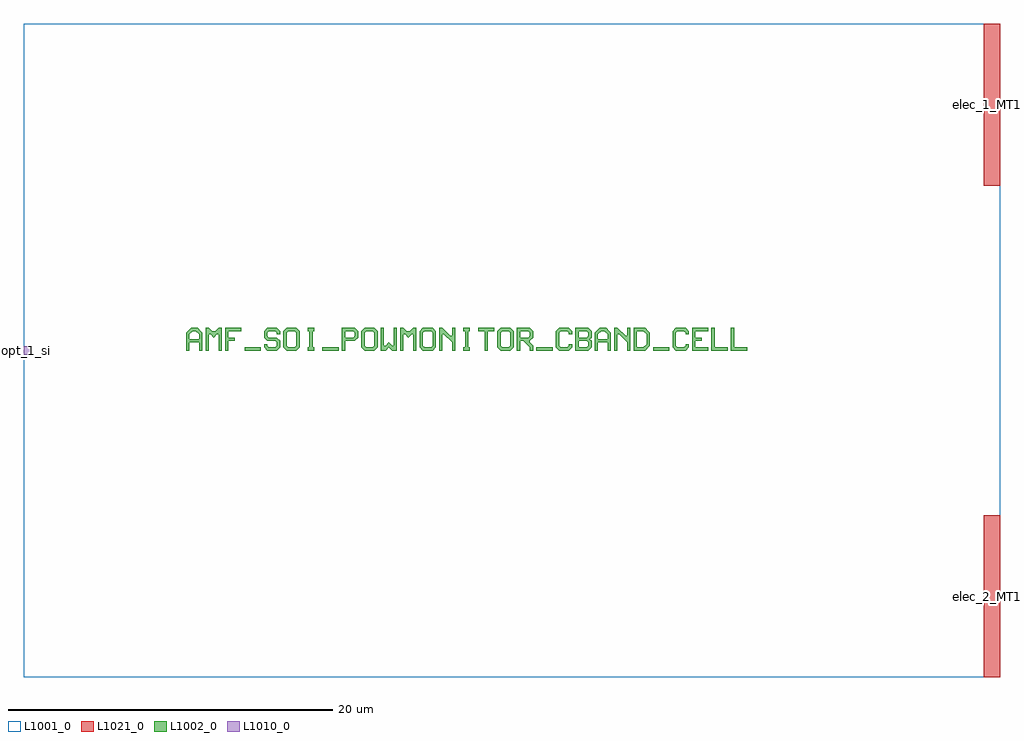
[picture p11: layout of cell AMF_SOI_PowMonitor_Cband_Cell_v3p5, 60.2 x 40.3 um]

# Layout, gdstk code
import gdstk
lib = gdstk.Library(unit=1e-6, precision=1e-09)
def R(c, l, rs):  # rectangles x0, y0, x1, y1
    for r in rs: c.add(gdstk.rectangle(r[:2], r[2:], *l))
def P(c, l, *ps):  # polygons
    for p in ps: c.add(gdstk.Polygon(p, *l))
L1001_0 = (1001, 0)
L1002_0 = (1002, 0)
L1010_0 = (1010, 0)
L1021_0 = (1021, 0)

amf_soi_powmonitor_cband = lib.new_cell('AMF_SOI_PowMonitor_Cband_Cell_v3p5')
R(amf_soi_powmonitor_cband, L1001_0, [(0,-20.15,60.2,20.15)])
R(amf_soi_powmonitor_cband, L1002_0, [(13.604,-0.003,14.604,0.197), (18.404,-0.003,19.404,0.197), (31.604,-0.003,32.604,0.197), (38.804,-0.003,39.804,0.197)])
P(amf_soi_powmonitor_cband, L1002_0, [(10.004,-0.003),(10.004,1.097),(10.304,1.397),(10.704,1.397),(10.904,1.197),(10.404,1.197),(10.204,0.997),(10.204,0.697),(10.804,0.697),(10.804,0.997),(10.604,1.197),(10.904,1.197),(11.004,1.097),(11.004,-0.003),(10.804,-0.003),(10.804,0.497),(10.204,0.497),(10.204,-0.003)],
  [(11.204,-0.003),(11.204,1.397),(11.404,1.397),(11.604,1.197),(11.804,1.197),(12.004,1.397),(12.204,1.397),(12.204,-0.003),(12.004,-0.003),(12.004,0.997),(11.904,0.997),(11.704,0.797),(11.504,0.997),(11.404,0.997),(11.404,-0.003)],
  [(12.404,-0.003),(12.404,1.397),(13.404,1.397),(13.404,1.197),(12.604,1.197),(12.604,0.797),(13.004,0.797),(13.004,0.597),(12.604,0.597),(12.604,-0.003)],
  [(15.004,-0.003),(14.804,0.197),(14.804,0.397),(15.004,0.397),(15.004,0.297),(15.104,0.197),(15.504,0.197),(15.604,0.297),(15.604,0.497),(15.504,0.597),(15.004,0.597),(14.804,0.797),(14.804,1.197),(15.004,1.397),(15.604,1.397),(15.804,1.197),(15.804,0.997),(15.604,0.997),(15.604,1.097),(15.504,1.197),(15.104,1.197),(15.004,1.097),(15.004,0.897),(15.104,0.797),(15.604,0.797),(15.804,0.597),(15.804,0.197),(15.604,-0.003)],
  [(16.204,-0.003),(16.004,0.197),(16.004,1.197),(16.204,1.397),(16.804,1.397),(17.004,1.197),(17.004,0.697),(16.804,0.697),(16.804,1.097),(16.704,1.197),(16.304,1.197),(16.204,1.097),(16.204,0.297),(16.304,0.197),(16.704,0.197),(16.804,0.297),(16.804,0.697),(17.004,0.697),(17.004,0.197),(16.804,-0.003)],
  [(17.504,-0.003),(17.504,0.197),(17.604,0.197),(17.604,1.197),(17.504,1.197),(17.504,1.397),(17.904,1.397),(17.904,1.197),(17.804,1.197),(17.804,0.197),(17.904,0.197),(17.904,-0.003)],
  [(19.604,-0.003),(19.604,1.397),(20.404,1.397),(20.604,1.197),(20.604,0.797),(20.404,0.597),(19.804,0.597),(19.804,0.797),(20.304,0.797),(20.404,0.897),(20.404,1.097),(20.304,1.197),(19.804,1.197),(19.804,-0.003)],
  [(21.004,-0.003),(20.804,0.197),(20.804,1.197),(21.004,1.397),(21.604,1.397),(21.804,1.197),(21.804,0.697),(21.604,0.697),(21.604,1.097),(21.504,1.197),(21.104,1.197),(21.004,1.097),(21.004,0.297),(21.104,0.197),(21.504,0.197),(21.604,0.297),(21.604,0.697),(21.804,0.697),(21.804,0.197),(21.604,-0.003)],
  [(22.004,-0.003),(22.004,1.397),(22.204,1.397),(22.204,0.297),(22.304,0.297),(22.504,0.497),(22.704,0.297),(22.804,0.297),(22.804,1.397),(23.004,1.397),(23.004,-0.003),(22.704,-0.003),(22.504,0.197),(22.304,-0.003)],
  [(23.204,-0.003),(23.204,1.397),(23.404,1.397),(23.604,1.197),(23.804,1.197),(24.004,1.397),(24.204,1.397),(24.204,-0.003),(24.004,-0.003),(24.004,0.997),(23.904,0.997),(23.704,0.797),(23.504,0.997),(23.404,0.997),(23.404,-0.003)],
  [(24.604,-0.003),(24.404,0.197),(24.404,1.197),(24.604,1.397),(25.204,1.397),(25.404,1.197),(25.404,0.697),(25.204,0.697),(25.204,1.097),(25.104,1.197),(24.704,1.197),(24.604,1.097),(24.604,0.297),(24.704,0.197),(25.104,0.197),(25.204,0.297),(25.204,0.697),(25.404,0.697),(25.404,0.197),(25.204,-0.003)],
  [(25.604,-0.003),(25.604,1.397),(25.804,1.397),(26.304,0.897),(26.404,0.897),(26.404,1.397),(26.604,1.397),(26.604,-0.003),(26.404,-0.003),(26.404,0.497),(25.904,0.997),(25.804,0.997),(25.804,-0.003)],
  [(27.104,-0.003),(27.104,0.197),(27.204,0.197),(27.204,1.197),(27.104,1.197),(27.104,1.397),(27.504,1.397),(27.504,1.197),(27.404,1.197),(27.404,0.197),(27.504,0.197),(27.504,-0.003)],
  [(28.404,-0.003),(28.404,1.197),(28.004,1.197),(28.004,1.397),(29.004,1.397),(29.004,1.197),(28.604,1.197),(28.604,-0.003)],
  [(29.404,-0.003),(29.204,0.197),(29.204,1.197),(29.404,1.397),(30.004,1.397),(30.204,1.197),(30.204,0.697),(30.004,0.697),(30.004,1.097),(29.904,1.197),(29.504,1.197),(29.404,1.097),(29.404,0.297),(29.504,0.197),(29.904,0.197),(30.004,0.297),(30.004,0.697),(30.204,0.697),(30.204,0.197),(30.004,-0.003)],
  [(30.404,-0.003),(30.404,1.397),(31.204,1.397),(31.404,1.197),(30.604,1.197),(30.604,0.797),(31.104,0.797),(31.204,0.897),(31.204,1.097),(31.104,1.197),(31.404,1.197),(31.404,0.797),(31.204,0.597),(31.204,0.497),(31.404,0.297),(31.404,-0.003),(31.204,-0.003),(31.204,0.197),(30.804,0.597),(30.604,0.597),(30.604,-0.003)],
  [(33.004,-0.003),(32.804,0.197),(32.804,1.197),(33.004,1.397),(33.604,1.397),(33.804,1.197),(33.804,0.997),(33.604,0.997),(33.604,1.097),(33.504,1.197),(33.104,1.197),(33.004,1.097),(33.004,0.297),(33.104,0.197),(33.504,0.197),(33.604,0.297),(33.604,0.397),(33.804,0.397),(33.804,0.197),(33.604,-0.003)],
  [(34.004,-0.003),(34.004,1.397),(34.804,1.397),(35.004,1.197),(34.204,1.197),(34.204,0.797),(34.704,0.797),(34.804,0.897),(34.804,1.097),(34.704,1.197),(35.004,1.197),(35.004,0.797),(34.904,0.697),(35.004,0.597),(34.204,0.597),(34.204,0.197),(34.704,0.197),(34.804,0.297),(34.804,0.497),(34.704,0.597),(35.004,0.597),(35.004,0.197),(34.804,-0.003)],
  [(35.204,-0.003),(35.204,1.097),(35.504,1.397),(35.904,1.397),(36.104,1.197),(35.604,1.197),(35.404,0.997),(35.404,0.697),(36.004,0.697),(36.004,0.997),(35.804,1.197),(36.104,1.197),(36.204,1.097),(36.204,-0.003),(36.004,-0.003),(36.004,0.497),(35.404,0.497),(35.404,-0.003)],
  [(36.404,-0.003),(36.404,1.397),(36.604,1.397),(37.104,0.897),(37.204,0.897),(37.204,1.397),(37.404,1.397),(37.404,-0.003),(37.204,-0.003),(37.204,0.497),(36.704,0.997),(36.604,0.997),(36.604,-0.003)],
  [(37.604,-0.003),(37.604,1.397),(38.304,1.397),(38.504,1.197),(37.804,1.197),(37.804,0.197),(38.204,0.197),(38.404,0.397),(38.404,0.997),(38.204,1.197),(38.504,1.197),(38.604,1.097),(38.604,0.297),(38.304,-0.003)],
  [(40.204,-0.003),(40.004,0.197),(40.004,1.197),(40.204,1.397),(40.804,1.397),(41.004,1.197),(41.004,0.997),(40.804,0.997),(40.804,1.097),(40.704,1.197),(40.304,1.197),(40.204,1.097),(40.204,0.297),(40.304,0.197),(40.704,0.197),(40.804,0.297),(40.804,0.397),(41.004,0.397),(41.004,0.197),(40.804,-0.003)],
  [(41.204,-0.003),(41.204,1.397),(42.204,1.397),(42.204,1.197),(41.404,1.197),(41.404,0.797),(41.804,0.797),(41.804,0.597),(41.404,0.597),(41.404,0.197),(42.204,0.197),(42.204,-0.003)],
  [(42.404,-0.003),(42.404,1.397),(42.604,1.397),(42.604,0.197),(43.404,0.197),(43.404,-0.003)],
  [(43.604,-0.003),(43.604,1.397),(43.804,1.397),(43.804,0.197),(44.604,0.197),(44.604,-0.003)])
R(amf_soi_powmonitor_cband, L1010_0, [(0,-0.25,0.5,0.25)])
R(amf_soi_powmonitor_cband, L1021_0, [(59.2,-20.15,60.2,-10.15), (59.2,10.15,60.2,20.15)])
amf_soi_powmonitor_cband.add(gdstk.Label('opt_1_si', (0,0), layer=1010, texttype=0))
amf_soi_powmonitor_cband.add(gdstk.Label('elec_1_MT1', (60.2,15.15), layer=1021, texttype=0))
amf_soi_powmonitor_cband.add(gdstk.Label('elec_2_MT1', (60.2,-15.15), layer=1021, texttype=0))

lib.write_gds('AMF_SOI_PowMonitor_Cband_Cell_v3p5.gds')
